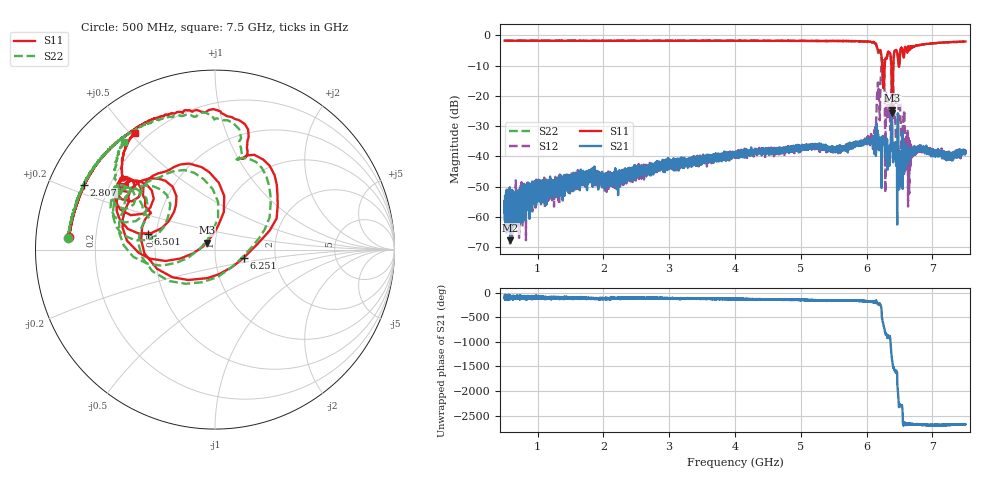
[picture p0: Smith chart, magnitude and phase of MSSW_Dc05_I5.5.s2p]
!Keysight Technologies,M9374A,MY55442783,A.12.55.05
!Date: Wednesday, May 19, 2021 19:28:00
!Correction: S11(Full 2 Port(1,2))
!S21(Full 2 Port(1,2))
!S12(Full 2 Port(1,2))
!S22(Full 2 Port(1,2))
!S2P File: Measurements: S11, S21, S12, S22:
# Hz S  RI  R 50
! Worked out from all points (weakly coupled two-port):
!   7001 points, 500 MHz to 7.5 GHz, reference 50 ohm
!   highest |S21| = -25.53 dB at 6.379 GHz (marker M1); lowest = -67.7 dB at 585 MHz (marker M2)
!   lowest |S11| = -24.7 dB at 6.391 GHz (marker M3), VSWR 1.12, Z = 45.6 + j3.45 ohm
!   |S11| at or under -10 dB: 6.237 GHz to 6.274 GHz (37.82 MHz wide, 0.605 % of centre); 6.375262 GHz to 6.405601 GHz (30.34 MHz wide, 0.475 % of centre); 6.486435 GHz to 6.495425 GHz (8.99 MHz wide, 0.139 % of centre)
!   |S22| runs from -23.6 to -1.7 dB; largest |S21 - S12| = 0.37
!   S11 on the Smith chart (normalised r, x): 500 MHz: 0.10, +0.04; 2.807 GHz: 0.11, +0.23; 6.251 GHz: 1.37, -0.13; 6.501 GHz: 0.45, +0.09; 7.5 GHz: 0.15, +0.52
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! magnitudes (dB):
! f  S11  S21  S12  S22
! 500 MHz  -1.8  -55.6  -54.2  -1.7
! 585 MHz  -1.8  -67.7  -55.7  -1.7
! 1.667 GHz  -1.8  -47.0  -48.0  -1.8
! 2.807 GHz  -1.8  -43.0  -43.2  -1.8
! 2.834 GHz  -1.8  -42.9  -44.9  -1.7
! 4 GHz  -1.8  -39.2  -39.7  -1.8
! 5.167 GHz  -1.9  -36.7  -36.6  -1.8
! 6.082 GHz  -2.3  -35.3  -33.5  -2.5
! 6.115 GHz  -2.4  -39.1  -37.3  -2.6
! 6.154 GHz  -3.9  -34.4  -21.6  -4.1
! 6.236 GHz  -9.8  -38.2  -8.8  -10.5
! 6.251 GHz  -15.6  -33.7  -8.7  -16.6
! 6.302 GHz  -7.7  -36.8  -19.5  -7.7
! 6.334 GHz  -5.4  -37.4  -23.2  -5.5
! 6.379 GHz  -12.3  -25.5  -14.7  -14.0
! 6.391 GHz  -24.7  -32.4  -12.6  -22.3
! 6.406 GHz  -9.7  -40.2  -16.5  -9.2
! 6.43 GHz  -5.2  -37.7  -26.6  -5.1
! 6.445 GHz  -4.9  -41.2  -36.8  -4.8
! 6.501 GHz  -8.3  -44.2  -21.1  -8.1
! 6.661 GHz  -3.7  -37.1  -37.1  -3.6
! 7.5 GHz  -2.0  -38.9  -38.0  -2.1
